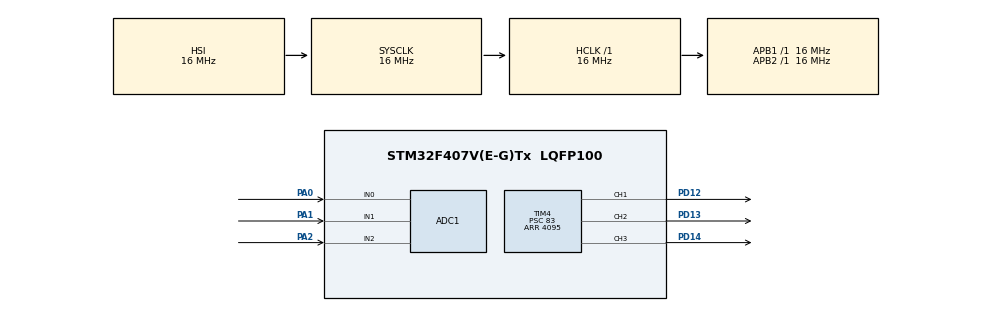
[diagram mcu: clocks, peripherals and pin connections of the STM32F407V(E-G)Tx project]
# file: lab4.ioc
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ADC1.Channel-3\#ChannelRegularConversion=ADC_CHANNEL_0
ADC1.Channel-4\#ChannelRegularConversion=ADC_CHANNEL_1
ADC1.Channel-5\#ChannelRegularConversion=ADC_CHANNEL_2
ADC1.ContinuousConvMode=DISABLE
ADC1.NbrOfConversion=3
ADC1.NbrOfConversionFlag=1
ADC1.Rank-3\#ChannelRegularConversion=1
ADC1.Rank-4\#ChannelRegularConversion=2
ADC1.Rank-5\#ChannelRegularConversion=3
ADC1.SamplingTime-3\#ChannelRegularConversion=ADC_SAMPLETIME_480CYCLES
ADC1.SamplingTime-4\#ChannelRegularConversion=ADC_SAMPLETIME_480CYCLES
ADC1.SamplingTime-5\#ChannelRegularConversion=ADC_SAMPLETIME_480CYCLES
ADC1.ScanConvMode=ENABLE
ADC1.master=1
Mcu.Family=STM32F4
Mcu.Name=STM32F407V(E-G)Tx
Mcu.Package=LQFP100
NVIC.ADC_IRQn=true\:0\:0\:false\:false\:true\:true\:true\:true
NVIC.PriorityGroup=NVIC_PRIORITYGROUP_4
NVIC.TIM4_IRQn=true\:0\:0\:false\:false\:true\:true\:true\:true
PA0-WKUP.Signal=ADCx_IN0
PA1.Signal=ADCx_IN1
PA2.Signal=ADCx_IN2
PD12.Signal=S_TIM4_CH1
PD13.Signal=S_TIM4_CH2
PD14.Signal=S_TIM4_CH3
ProjectManager.HeapSize=0x200
ProjectManager.StackSize=0x400
ProjectManager.TargetToolchain=STM32CubeIDE
RCC.AHBFreq_Value=16000000
RCC.APB1Freq_Value=16000000
RCC.APB2Freq_Value=16000000
RCC.CortexFreq_Value=16000000
RCC.HSE_VALUE=25000000
RCC.HSI_VALUE=16000000
RCC.LSE_VALUE=32768
RCC.SYSCLKFreq_VALUE=16000000
RCC.VCOOutputFreq_Value=192000000
SH.ADCx_IN0.0=ADC1_IN0,IN0
SH.ADCx_IN1.0=ADC1_IN1,IN1
SH.ADCx_IN2.0=ADC1_IN2,IN2
SH.S_TIM4_CH1.0=TIM4_CH1,PWM Generation1 CH1
SH.S_TIM4_CH2.0=TIM4_CH2,PWM Generation2 CH2
SH.S_TIM4_CH3.0=TIM4_CH3,PWM Generation3 CH3
TIM4.AutoReloadPreload=TIM_AUTORELOAD_PRELOAD_ENABLE
TIM4.Channel-PWM\ Generation1\ CH1=TIM_CHANNEL_1
TIM4.Channel-PWM\ Generation2\ CH2=TIM_CHANNEL_2
TIM4.Channel-PWM\ Generation3\ CH3=TIM_CHANNEL_3
TIM4.CounterMode=TIM_COUNTERMODE_DOWN
TIM4.Period=4095
TIM4.Prescaler=83
VP_TIM4_VS_ClockSourceINT.Mode=Internal
board=custom

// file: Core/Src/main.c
/* USER CODE BEGIN Header */
/**
  ******************************************************************************
  * @file           : main.c
  * @brief          : Main program body
  ******************************************************************************
  * @attention
  *
  * Copyright (c) 2025 STMicroelectronics.
  * All rights reserved.
  *
  * This software is licensed under terms that can be found in the LICENSE file
  * in the root directory of this software component.
  * If no LICENSE file comes with this software, it is provided AS-IS.
  *
  ******************************************************************************
  */
/* USER CODE END Header */
#include "main.h"

ADC_HandleTypeDef hadc1;

TIM_HandleTypeDef htim4;

/* USER CODE BEGIN PV */
volatile uint32_t adc_values[3] = {0, 0, 0};
volatile uint8_t adc_index = 0;
/* USER CODE END PV */

void SystemClock_Config(void);
static void MX_GPIO_Init(void);
static void MX_TIM4_Init(void);
static void MX_ADC1_Init(void);

/* USER CODE BEGIN 0 */
void HAL_ADC_ConvCpltCallback(ADC_HandleTypeDef* hadc) {
    if (hadc->Instance == ADC1) {
        adc_values[adc_index] = HAL_ADC_GetValue(hadc);
        adc_index++;
        if (adc_index >= 3) {
        	adc_index = 0;
            TIM4->CCR1 = adc_values[0];
            TIM4->CCR2 = adc_values[1];
            TIM4->CCR3 = adc_values[2];

            HAL_ADC_Start_IT(&hadc1);
        }
    }
}
/* USER CODE END 0 */

int main(void)
{

  /* MCU Configuration--------------------------------------------------------*/

  /* Reset of all peripherals, Initializes the Flash interface and the Systick. */
  HAL_Init();

  /* Configure the system clock */
  SystemClock_Config();

  /* Initialize all configured peripherals */
  MX_GPIO_Init();
  MX_TIM4_Init();
  MX_ADC1_Init();
  /* USER CODE BEGIN 2 */
  HAL_TIM_PWM_Start(&htim4, TIM_CHANNEL_1);
  HAL_TIM_PWM_Start(&htim4, TIM_CHANNEL_2);
  HAL_TIM_PWM_Start(&htim4, TIM_CHANNEL_3);

  HAL_ADC_Start_IT(&hadc1);
  /* USER CODE END 2 */

  /* Infinite loop */
  while (1)
  {

  }
}

void SystemClock_Config(void)
{
  RCC_OscInitTypeDef RCC_OscInitStruct = {0};
  RCC_ClkInitTypeDef RCC_ClkInitStruct = {0};

  /** Configure the main internal regulator output voltage
  */
  __HAL_RCC_PWR_CLK_ENABLE();
  __HAL_PWR_VOLTAGESCALING_CONFIG(PWR_REGULATOR_VOLTAGE_SCALE1);

  /** Initializes the RCC Oscillators according to the specified parameters
  * in the RCC_OscInitTypeDef structure.
  */
  RCC_OscInitStruct.OscillatorType = RCC_OSCILLATORTYPE_HSI;
  RCC_OscInitStruct.HSIState = RCC_HSI_ON;
  RCC_OscInitStruct.HSICalibrationValue = RCC_HSICALIBRATION_DEFAULT;
  RCC_OscInitStruct.PLL.PLLState = RCC_PLL_NONE;
  if (HAL_RCC_OscConfig(&RCC_OscInitStruct) != HAL_OK)
  {
    Error_Handler();
  }

  /** Initializes the CPU, AHB and APB buses clocks
  */
  RCC_ClkInitStruct.ClockType = RCC_CLOCKTYPE_HCLK|RCC_CLOCKTYPE_SYSCLK
                              |RCC_CLOCKTYPE_PCLK1|RCC_CLOCKTYPE_PCLK2;
  RCC_ClkInitStruct.SYSCLKSource = RCC_SYSCLKSOURCE_HSI;
  RCC_ClkInitStruct.AHBCLKDivider = RCC_SYSCLK_DIV1;
  RCC_ClkInitStruct.APB1CLKDivider = RCC_HCLK_DIV1;
  RCC_ClkInitStruct.APB2CLKDivider = RCC_HCLK_DIV1;

  if (HAL_RCC_ClockConfig(&RCC_ClkInitStruct, FLASH_LATENCY_0) != HAL_OK)
  {
    Error_Handler();
  }
}

static void MX_ADC1_Init(void)
{

  ADC_ChannelConfTypeDef sConfig = {0};

  /** Configure the global features of the ADC (Clock, Resolution, Data Alignment and number of conversion)
  */
  hadc1.Instance = ADC1;
  hadc1.Init.ClockPrescaler = ADC_CLOCK_SYNC_PCLK_DIV2;
  hadc1.Init.Resolution = ADC_RESOLUTION_12B;
  hadc1.Init.ScanConvMode = ENABLE;
  hadc1.Init.ContinuousConvMode = DISABLE;
  hadc1.Init.DiscontinuousConvMode = DISABLE;
  hadc1.Init.ExternalTrigConvEdge = ADC_EXTERNALTRIGCONVEDGE_NONE;
  hadc1.Init.ExternalTrigConv = ADC_SOFTWARE_START;
  hadc1.Init.DataAlign = ADC_DATAALIGN_RIGHT;
  hadc1.Init.NbrOfConversion = 3;
  hadc1.Init.DMAContinuousRequests = DISABLE;
  hadc1.Init.EOCSelection = ADC_EOC_SINGLE_CONV;
  if (HAL_ADC_Init(&hadc1) != HAL_OK)
  {
    Error_Handler();
  }

  /** Configure for the selected ADC regular channel its corresponding rank in the sequencer and its sample time.
  */
  sConfig.Channel = ADC_CHANNEL_0;
  sConfig.Rank = 1;
  sConfig.SamplingTime = ADC_SAMPLETIME_480CYCLES;
  if (HAL_ADC_ConfigChannel(&hadc1, &sConfig) != HAL_OK)
  {
    Error_Handler();
  }

  /** Configure for the selected ADC regular channel its corresponding rank in the sequencer and its sample time.
  */
  sConfig.Channel = ADC_CHANNEL_1;
  sConfig.Rank = 2;
  if (HAL_ADC_ConfigChannel(&hadc1, &sConfig) != HAL_OK)
  {
    Error_Handler();
  }

  /** Configure for the selected ADC regular channel its corresponding rank in the sequencer and its sample time.
  */
  sConfig.Channel = ADC_CHANNEL_2;
  sConfig.Rank = 3;
  if (HAL_ADC_ConfigChannel(&hadc1, &sConfig) != HAL_OK)
  {
    Error_Handler();
  }

}

static void MX_TIM4_Init(void)
{

  TIM_ClockConfigTypeDef sClockSourceConfig = {0};
  TIM_MasterConfigTypeDef sMasterConfig = {0};
  TIM_OC_InitTypeDef sConfigOC = {0};

  htim4.Instance = TIM4;
  htim4.Init.Prescaler = 83;
  htim4.Init.CounterMode = TIM_COUNTERMODE_DOWN;
  htim4.Init.Period = 4095;
  htim4.Init.ClockDivision = TIM_CLOCKDIVISION_DIV1;
  htim4.Init.AutoReloadPreload = TIM_AUTORELOAD_PRELOAD_ENABLE;
  if (HAL_TIM_Base_Init(&htim4) != HAL_OK)
  {
    Error_Handler();
  }
  sClockSourceConfig.ClockSource = TIM_CLOCKSOURCE_INTERNAL;
  if (HAL_TIM_ConfigClockSource(&htim4, &sClockSourceConfig) != HAL_OK)
  {
    Error_Handler();
  }
  if (HAL_TIM_PWM_Init(&htim4) != HAL_OK)
  {
    Error_Handler();
  }
  sMasterConfig.MasterOutputTrigger = TIM_TRGO_RESET;
  sMasterConfig.MasterSlaveMode = TIM_MASTERSLAVEMODE_DISABLE;
  if (HAL_TIMEx_MasterConfigSynchronization(&htim4, &sMasterConfig) != HAL_OK)
  {
    Error_Handler();
  }
  sConfigOC.OCMode = TIM_OCMODE_PWM1;
  sConfigOC.Pulse = 0;
  sConfigOC.OCPolarity = TIM_OCPOLARITY_HIGH;
  sConfigOC.OCFastMode = TIM_OCFAST_DISABLE;
  if (HAL_TIM_PWM_ConfigChannel(&htim4, &sConfigOC, TIM_CHANNEL_1) != HAL_OK)
  {
    Error_Handler();
  }
  if (HAL_TIM_PWM_ConfigChannel(&htim4, &sConfigOC, TIM_CHANNEL_2) != HAL_OK)
  {
    Error_Handler();
  }
  if (HAL_TIM_PWM_ConfigChannel(&htim4, &sConfigOC, TIM_CHANNEL_3) != HAL_OK)
  {
    Error_Handler();
  }
  HAL_TIM_MspPostInit(&htim4);

}

static void MX_GPIO_Init(void)
{

  /* GPIO Ports Clock Enable */
  __HAL_RCC_GPIOA_CLK_ENABLE();
  __HAL_RCC_GPIOD_CLK_ENABLE();

}

void Error_Handler(void)
{
  __disable_irq();
  while (1)
  {
  }
}
